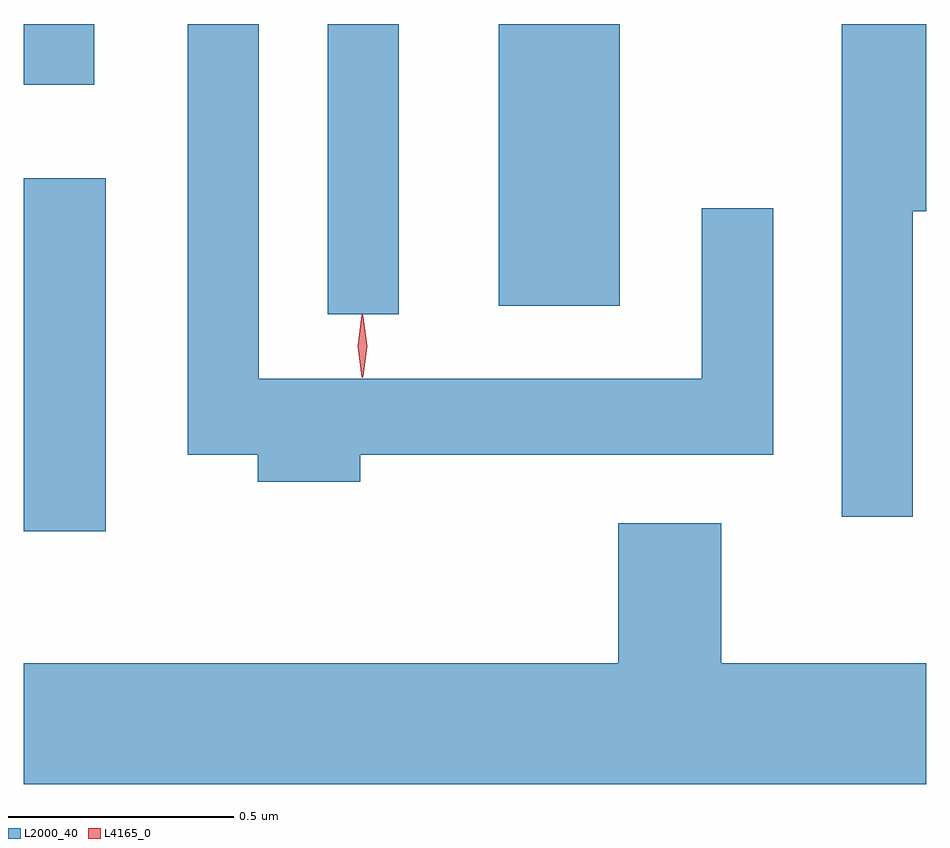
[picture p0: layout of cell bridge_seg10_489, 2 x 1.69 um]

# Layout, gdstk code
import gdstk
lib = gdstk.Library(unit=1e-6, precision=1e-09)
def R(c, l, rs):  # rectangles x0, y0, x1, y1
    for r in rs: c.add(gdstk.rectangle(r[:2], r[2:], *l))
def P(c, l, *ps):  # polygons
    for p in ps: c.add(gdstk.Polygon(p, *l))
L2000_40 = (2000, 40)
L4165_0 = (4165, 0)

bridge_seg10_489 = lib.new_cell('bridge_seg10_489')
R(bridge_seg10_489, L2000_40, [(1371.193,2130.016,1371.374,2130.799), (1371.866,2130.498,1372.024,2131.141), (1372.246,2130.516,1372.514,2131.141), (1371.193,2131.006,1371.349,2131.141)])
P(bridge_seg10_489, L2000_40, [(1373.164,2130.726),(1373.193,2130.726),(1373.193,2131.141),(1373.006,2131.141),(1373.006,2130.048),(1373.164,2130.048)],
  [(1371.939,2130.186),(1372.854,2130.186),(1372.854,2130.733),(1372.696,2130.733),(1372.696,2130.354),(1371.714,2130.354),(1371.714,2131.141),(1371.556,2131.141),(1371.556,2130.186),(1371.711,2130.186),(1371.711,2130.126),(1371.939,2130.126)],
  [(1373.193,2129.724),(1372.739,2129.724),(1372.739,2130.034),(1372.511,2130.034),(1372.511,2129.724),(1371.193,2129.724),(1371.193,2129.456),(1373.193,2129.456)])
P(bridge_seg10_489, L4165_0, [(1371.944,2130.36),(1371.944,2130.36),(1371.935,2130.426),(1371.944,2130.492),(1371.945,2130.493),(1371.945,2130.492),(1371.954,2130.426),(1371.945,2130.36)],
  [(1371.943,2130.357),(1371.942,2130.358),(1371.933,2130.427),(1371.942,2130.496),(1371.943,2130.496),(1371.944,2130.496),(1371.953,2130.427),(1371.944,2130.358)])

lib.write_gds('bridge_seg10_489.gds')
